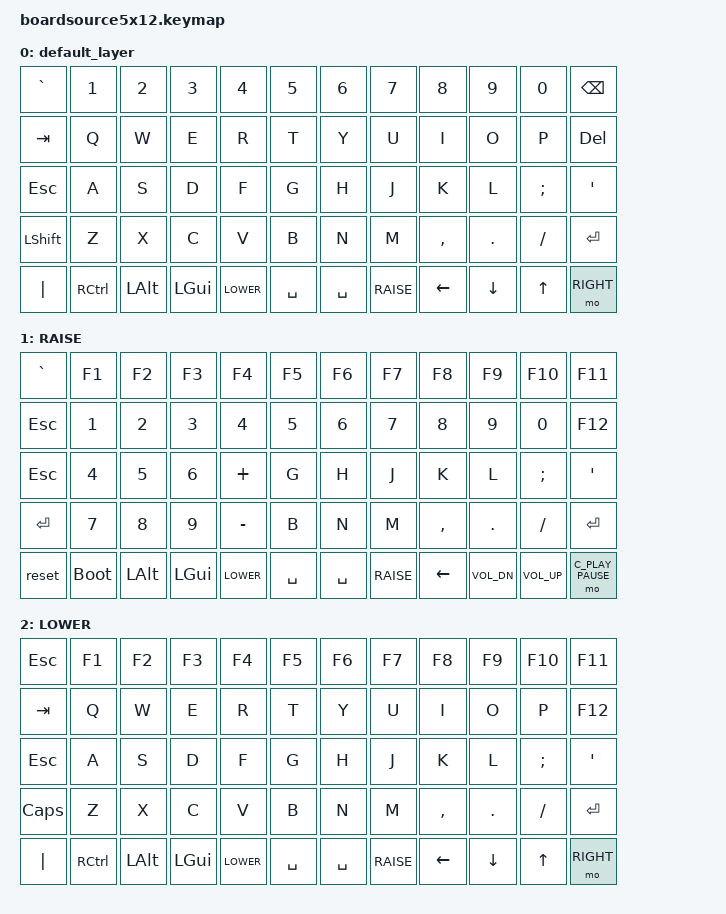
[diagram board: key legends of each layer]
/*
 * Copyright (c) 2021 The ZMK Contributors
 *
 * SPDX-License-Identifier: MIT
 */

#include <behaviors.dtsi>
#include <dt-bindings/zmk/keys.h>
#include <dt-bindings/zmk/bt.h>
#include <dt-bindings/zmk/outputs.h>

#define DEFAULT 0
#define RAISE  1
#define LOWER  2

/ {
    keymap {
        compatible = "zmk,keymap";

        default_layer {
            bindings = <
                &kp GRAV    &kp N1      &kp N2   &kp N3    &kp N4    &kp N5      &kp N6    &kp N7    &kp N8    &kp N9   &kp N0   &kp BSPC
                &kp TAB     &kp Q       &kp W    &kp E     &kp R     &kp T       &kp Y     &kp U     &kp I     &kp O    &kp P    &kp DEL
                &kp ESC     &kp A       &kp S    &kp D     &kp F     &kp G       &kp H     &kp J     &kp K     &kp L    &kp SEMI &kp SQT
                &kp LSHIFT  &kp Z       &kp X    &kp C     &kp V     &kp B       &kp N     &kp M     &kp COMMA &kp DOT  &kp FSLH &kp RET
                &kp PIPE    &kp RCTRL   &kp LALT &kp LGUI  &kp LOWER &kp SPACE   &kp SPACE &kp RAISE &kp LEFT  &kp DOWN &kp UP   &mo RIGHT
                >;
            };
        RAISE {
            bindings = <
                &kp GRAV    &kp F1      &kp F2   &kp F3    &kp F4    &kp F5      &kp F6    &kp F7    &kp F8    &kp F9       &kp F10         &kp F11
                &kp ESC     &kp N1      &kp N2   &kp N3    &kp N4    &kp N5      &kp N6    &kp N7    &kp N8    &kp N9       &kp N0          &kp F12
                &kp ESC     &kp N4      &kp N5   &kp N6    &kp PLUS  &kp G       &kp H     &kp J     &kp K     &kp L        &kp SEMI        &kp SQT
                &kp RET     &kp N7      &kp N8   &kp N9    &kp MINUS &kp B       &kp N     &kp M     &kp COMMA &kp DOT      &kp FSLH        &kp RET
                &reset      &bootloader &kp LALT &kp LGUI  &kp LOWER &kp SPACE   &kp SPACE &kp RAISE &kp LEFT  &kp C_VOL_DN &kp C_VOL_UP    &mo C_PLAY_PAUSE
                >;
            };
        LOWER {
            bindings = <
                &kp ESC    &kp F1       &kp F2   &kp F3    &kp F4    &kp F5      &kp F6    &kp F7    &kp F8    &kp F9   &kp F10  &kp F11
                &kp TAB     &kp Q       &kp W    &kp E     &kp R     &kp T       &kp Y     &kp U     &kp I     &kp O    &kp P    &kp F12
                &kp ESC     &kp A       &kp S    &kp D     &kp F     &kp G       &kp H     &kp J     &kp K     &kp L    &kp SEMI &kp SQT
                &kp CAPS    &kp Z       &kp X    &kp C     &kp V     &kp B       &kp N     &kp M     &kp COMMA &kp DOT  &kp FSLH &kp RET
                &kp PIPE    &kp RCTRL   &kp LALT &kp LGUI  &kp LOWER &kp SPACE   &kp SPACE &kp RAISE &kp LEFT  &kp DOWN &kp UP   &mo RIGHT
                >;
            };
    };
};
